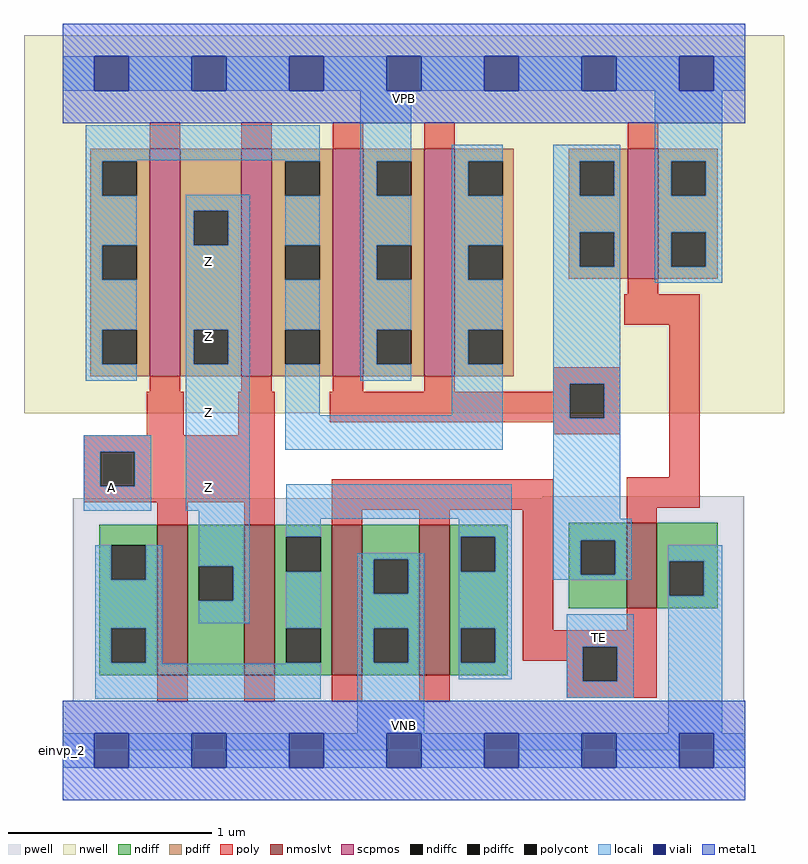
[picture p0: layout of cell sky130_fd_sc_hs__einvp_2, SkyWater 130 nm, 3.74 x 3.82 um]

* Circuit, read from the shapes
.subckt sky130_fd_sc_hs__einvp_2 A TE VGND VNB VPB VPWR Z
XM1 Z A n1 VNB sky130_fd_pr__nfet_01v8_lvt w=0.74 l=0.15 m=2
XM2 VGND TE n1 VNB sky130_fd_pr__nfet_01v8_lvt w=0.74 l=0.15 m=2
XM3 VGND TE n2 VNB sky130_fd_pr__nfet_01v8_lvt w=0.42 l=0.15
XM4 Z A n3 VPB sky130_fd_pr__pfet_01v8 w=1.12 l=0.15 m=2
XM5 VPWR n2 n3 VPB sky130_fd_pr__pfet_01v8 w=1.12 l=0.15 m=2
XM6 VPWR TE n2 VPB sky130_fd_pr__pfet_01v8 w=0.64 l=0.15
.ends

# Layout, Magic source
magic
tech sky130A
magscale 1 2
<< nwell >>
rect -38 332 710 704
<< pwell >>
rect 472 248 671 250
rect 10 49 671 248
rect 0 0 672 49
<< scpmos >>
rect 86 368 116 592
rect 176 368 206 592
rect 266 368 296 592
rect 356 368 386 592
rect 556 464 586 592
<< nmoslvt >>
rect 93 74 123 222
rect 179 74 209 222
rect 265 74 295 222
rect 351 74 381 222
rect 555 140 585 224
<< ndiff >>
rect 36 202 93 222
rect 36 168 48 202
rect 82 168 93 202
rect 36 120 93 168
rect 36 86 48 120
rect 82 86 93 120
rect 36 74 93 86
rect 123 181 179 222
rect 123 147 134 181
rect 168 147 179 181
rect 123 74 179 147
rect 209 210 265 222
rect 209 176 220 210
rect 254 176 265 210
rect 209 120 265 176
rect 209 86 220 120
rect 254 86 265 120
rect 209 74 265 86
rect 295 188 351 222
rect 295 154 306 188
rect 340 154 351 188
rect 295 120 351 154
rect 295 86 306 120
rect 340 86 351 120
rect 295 74 351 86
rect 381 210 438 222
rect 381 176 392 210
rect 426 176 438 210
rect 381 120 438 176
rect 381 86 392 120
rect 426 86 438 120
rect 498 207 555 224
rect 498 173 510 207
rect 544 173 555 207
rect 498 140 555 173
rect 585 186 645 224
rect 585 152 597 186
rect 631 152 645 186
rect 585 140 645 152
rect 381 74 438 86
<< pdiff >>
rect 27 580 86 592
rect 27 546 39 580
rect 73 546 86 580
rect 27 497 86 546
rect 27 463 39 497
rect 73 463 86 497
rect 27 414 86 463
rect 27 380 39 414
rect 73 380 86 414
rect 27 368 86 380
rect 116 531 176 592
rect 116 497 129 531
rect 163 497 176 531
rect 116 414 176 497
rect 116 380 129 414
rect 163 380 176 414
rect 116 368 176 380
rect 206 580 266 592
rect 206 546 219 580
rect 253 546 266 580
rect 206 497 266 546
rect 206 463 219 497
rect 253 463 266 497
rect 206 414 266 463
rect 206 380 219 414
rect 253 380 266 414
rect 206 368 266 380
rect 296 580 356 592
rect 296 546 309 580
rect 343 546 356 580
rect 296 497 356 546
rect 296 463 309 497
rect 343 463 356 497
rect 296 414 356 463
rect 296 380 309 414
rect 343 380 356 414
rect 296 368 356 380
rect 386 580 444 592
rect 386 546 399 580
rect 433 546 444 580
rect 386 497 444 546
rect 386 463 399 497
rect 433 463 444 497
rect 498 580 556 592
rect 498 546 509 580
rect 543 546 556 580
rect 498 510 556 546
rect 498 476 509 510
rect 543 476 556 510
rect 498 464 556 476
rect 586 580 645 592
rect 586 546 599 580
rect 633 546 645 580
rect 586 510 645 546
rect 586 476 599 510
rect 633 476 645 510
rect 586 464 645 476
rect 386 414 444 463
rect 386 380 399 414
rect 433 380 444 414
rect 386 368 444 380
<< ndiffc >>
rect 48 168 82 202
rect 48 86 82 120
rect 134 147 168 181
rect 220 176 254 210
rect 220 86 254 120
rect 306 154 340 188
rect 306 86 340 120
rect 392 176 426 210
rect 392 86 426 120
rect 510 173 544 207
rect 597 152 631 186
<< pdiffc >>
rect 39 546 73 580
rect 39 463 73 497
rect 39 380 73 414
rect 129 497 163 531
rect 129 380 163 414
rect 219 546 253 580
rect 219 463 253 497
rect 219 380 253 414
rect 309 546 343 580
rect 309 463 343 497
rect 309 380 343 414
rect 399 546 433 580
rect 399 463 433 497
rect 509 546 543 580
rect 509 476 543 510
rect 599 546 633 580
rect 599 476 633 510
rect 399 380 433 414
<< poly >>
rect 86 592 116 618
rect 176 592 206 618
rect 266 592 296 618
rect 356 592 386 618
rect 556 592 586 618
rect 556 449 586 464
rect 553 419 627 449
rect 86 353 116 368
rect 176 353 206 368
rect 266 353 296 368
rect 356 353 386 368
rect 483 361 549 377
rect 483 353 499 361
rect 83 310 119 353
rect 173 310 209 353
rect 263 327 499 353
rect 533 327 549 361
rect 263 323 549 327
rect 483 311 549 323
rect 21 294 209 310
rect 21 260 37 294
rect 71 260 209 294
rect 597 269 627 419
rect 21 244 209 260
rect 93 222 123 244
rect 179 222 209 244
rect 265 237 483 267
rect 265 222 295 237
rect 351 222 381 237
rect 453 118 483 237
rect 555 239 627 269
rect 555 224 585 239
rect 555 118 585 140
rect 453 102 585 118
rect 453 88 512 102
rect 93 48 123 74
rect 179 48 209 74
rect 265 48 295 74
rect 351 48 381 74
rect 496 68 512 88
rect 546 68 585 102
rect 496 52 585 68
<< polycont >>
rect 499 327 533 361
rect 37 260 71 294
rect 512 68 546 102
<< locali >>
rect 0 649 31 683
rect 65 649 127 683
rect 161 649 223 683
rect 257 649 319 683
rect 353 649 415 683
rect 449 649 511 683
rect 545 649 607 683
rect 641 649 672 683
rect 23 581 253 615
rect 23 580 73 581
rect 23 546 39 580
rect 219 580 253 581
rect 23 497 73 546
rect 23 463 39 497
rect 23 414 73 463
rect 23 380 39 414
rect 23 364 73 380
rect 121 531 184 547
rect 121 497 129 531
rect 163 497 184 531
rect 121 414 184 497
rect 121 380 129 414
rect 163 380 184 414
rect 21 294 87 310
rect 21 260 37 294
rect 71 260 87 294
rect 21 236 87 260
rect 121 236 184 380
rect 219 497 253 546
rect 219 414 253 463
rect 219 330 253 380
rect 293 580 343 649
rect 293 546 309 580
rect 293 497 343 546
rect 293 463 309 497
rect 293 414 343 463
rect 293 380 309 414
rect 293 364 343 380
rect 383 580 433 596
rect 383 546 399 580
rect 383 497 433 546
rect 383 463 399 497
rect 383 414 433 463
rect 383 380 399 414
rect 383 330 433 380
rect 219 296 433 330
rect 483 580 549 596
rect 483 546 509 580
rect 543 546 549 580
rect 483 510 549 546
rect 483 476 509 510
rect 543 476 549 510
rect 483 361 549 476
rect 583 580 649 649
rect 583 546 599 580
rect 633 546 649 580
rect 583 510 649 546
rect 583 476 599 510
rect 633 476 649 510
rect 583 460 649 476
rect 483 327 499 361
rect 533 327 549 361
rect 32 168 48 202
rect 82 168 98 202
rect 32 120 98 168
rect 134 181 184 236
rect 168 147 184 181
rect 134 125 184 147
rect 220 228 442 262
rect 220 210 254 228
rect 390 210 442 228
rect 32 86 48 120
rect 82 86 98 120
rect 32 85 98 86
rect 220 120 254 176
rect 220 85 254 86
rect 32 51 254 85
rect 290 188 356 194
rect 290 154 306 188
rect 340 154 356 188
rect 290 120 356 154
rect 290 86 306 120
rect 340 86 356 120
rect 290 17 356 86
rect 390 176 392 210
rect 426 176 442 210
rect 390 120 442 176
rect 483 228 549 327
rect 483 207 560 228
rect 483 173 510 207
rect 544 173 560 207
rect 483 168 560 173
rect 596 186 649 202
rect 596 152 597 186
rect 631 152 649 186
rect 390 86 392 120
rect 426 86 442 120
rect 390 70 442 86
rect 496 102 562 134
rect 496 68 512 102
rect 546 68 562 102
rect 496 52 562 68
rect 596 17 649 152
rect 0 -17 31 17
rect 65 -17 127 17
rect 161 -17 223 17
rect 257 -17 319 17
rect 353 -17 415 17
rect 449 -17 511 17
rect 545 -17 607 17
rect 641 -17 672 17
<< viali >>
rect 31 649 65 683
rect 127 649 161 683
rect 223 649 257 683
rect 319 649 353 683
rect 415 649 449 683
rect 511 649 545 683
rect 607 649 641 683
rect 31 -17 65 17
rect 127 -17 161 17
rect 223 -17 257 17
rect 319 -17 353 17
rect 415 -17 449 17
rect 511 -17 545 17
rect 607 -17 641 17
<< metal1 >>
rect 0 683 672 715
rect 0 649 31 683
rect 65 649 127 683
rect 161 649 223 683
rect 257 649 319 683
rect 353 649 415 683
rect 449 649 511 683
rect 545 649 607 683
rect 641 649 672 683
rect 0 617 672 649
rect 0 17 672 49
rect 0 -17 31 17
rect 65 -17 127 17
rect 161 -17 223 17
rect 257 -17 319 17
rect 353 -17 415 17
rect 449 -17 511 17
rect 545 -17 607 17
rect 641 -17 672 17
rect 0 -49 672 -17
<< labels >>
rlabel comment s 0 0 0 0 4 einvp_2
flabel pwell s 0 0 672 49 0 FreeSans 200 0 0 0 VNB
port 4 nsew ground bidirectional
flabel nwell s 0 617 672 666 0 FreeSans 200 0 0 0 VPB
port 5 nsew power bidirectional
flabel metal1 s 0 617 672 666 0 FreeSans 340 0 0 0 VPWR
port 6 nsew power bidirectional
flabel metal1 s 0 0 672 49 0 FreeSans 340 0 0 0 VGND
port 3 nsew ground bidirectional
flabel locali s 127 242 161 276 0 FreeSans 340 0 0 0 Z
port 7 nsew signal output
flabel locali s 127 316 161 350 0 FreeSans 340 0 0 0 Z
port 7 nsew signal output
flabel locali s 127 390 161 424 0 FreeSans 340 0 0 0 Z
port 7 nsew signal output
flabel locali s 127 464 161 498 0 FreeSans 340 0 0 0 Z
port 7 nsew signal output
flabel locali s 31 242 65 276 0 FreeSans 340 0 0 0 A
port 1 nsew signal input
flabel locali s 511 94 545 128 0 FreeSans 340 0 0 0 TE
port 2 nsew signal input
<< properties >>
string LEFsite unit
string LEFclass CORE
string FIXED_BBOX 0 0 672 666
string GDS_FILE $PDKPATH/libs.ref/sky130_fd_sc_hs/gds/sky130_fd_sc_hs.gds
string LEFsymmetry X Y
string GDS_END 2050100
string GDS_START 2043378
<< end >>
